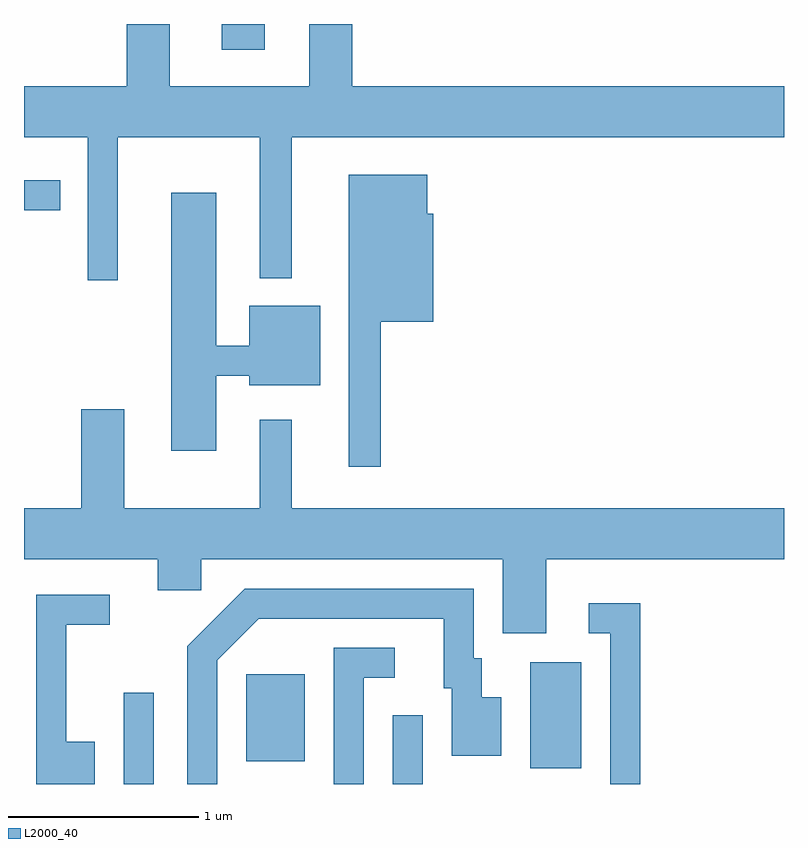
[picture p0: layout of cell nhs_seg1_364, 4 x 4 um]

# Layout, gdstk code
import gdstk
lib = gdstk.Library(unit=1e-6, precision=1e-09)
def R(c, l, rs):  # rectangles x0, y0, x1, y1
    for r in rs: c.add(gdstk.rectangle(r[:2], r[2:], *l))
def P(c, l, *ps):  # polygons
    for p in ps: c.add(gdstk.Polygon(p, *l))
L2000_40 = (2000, 40)

nhs_seg1_364 = lib.new_cell('nhs_seg1_364')
R(nhs_seg1_364, L2000_40, [(196.136,911.712,196.294,912.193), (197.551,911.712,197.709,912.073), (198.276,911.796,198.544,912.354), (196.781,911.831,197.089,912.289), (195.611,914.731,195.803,914.889), (196.651,915.576,196.879,915.712)])
P(nhs_seg1_364, L2000_40, [(196.104,915.116),(196.851,915.116),(196.851,914.373),(197.019,914.373),(197.019,915.116),(199.611,915.116),(199.611,915.384),(197.339,915.384),(197.339,915.712),(197.111,915.712),(197.111,915.384),(196.379,915.384),(196.379,915.712),(196.151,915.712),(196.151,915.384),(195.611,915.384),(195.611,915.116),(195.946,915.116),(195.946,914.363),(196.104,914.363)],
  [(197.489,914.146),(197.764,914.146),(197.764,914.714),(197.734,914.714),(197.734,914.919),(197.321,914.919),(197.321,913.383),(197.489,913.383)],
  [(196.624,913.861),(196.796,913.861),(196.796,913.811),(197.169,913.811),(197.169,914.229),(196.796,914.229),(196.796,914.019),(196.624,914.019),(196.624,914.824),(196.386,914.824),(196.386,913.466),(196.624,913.466)],
  [(198.359,912.896),(199.611,912.896),(199.611,913.164),(197.019,913.164),(197.019,913.628),(196.851,913.628),(196.851,913.164),(196.139,913.164),(196.139,913.684),(195.911,913.684),(195.911,913.164),(195.611,913.164),(195.611,912.896),(196.316,912.896),(196.316,912.731),(196.544,912.731),(196.544,912.896),(198.131,912.896),(198.131,912.506),(198.359,912.506)],
  [(196.629,912.364),(196.847,912.581),(197.821,912.581),(197.821,912.216),(197.861,912.216),(197.861,911.861),(198.124,911.861),(198.124,912.169),(198.019,912.169),(198.019,912.374),(197.979,912.374),(197.979,912.739),(196.774,912.739),(196.471,912.437),(196.471,911.712),(196.629,911.712)],
  [(195.984,911.934),(195.834,911.934),(195.834,912.551),(196.063,912.551),(196.063,912.709),(195.676,912.709),(195.676,911.712),(195.984,911.712)],
  [(198.854,912.664),(198.583,912.664),(198.583,912.506),(198.696,912.506),(198.696,911.712),(198.854,911.712)],
  [(197.399,912.271),(197.563,912.271),(197.563,912.429),(197.241,912.429),(197.241,911.712),(197.399,911.712)])

lib.write_gds('nhs_seg1_364.gds')
